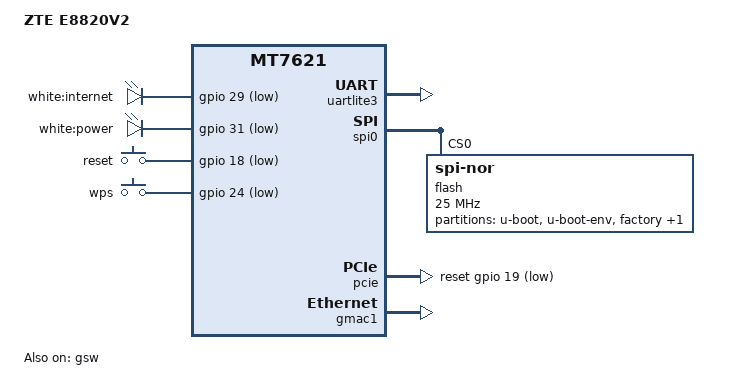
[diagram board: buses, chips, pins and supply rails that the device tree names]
// SPDX-License-Identifier: GPL-2.0-or-later OR MIT

#include "mt7621.dtsi"

#include <dt-bindings/gpio/gpio.h>
#include <dt-bindings/input/input.h>

/ {
	compatible = "zte,e8820v2", "mediatek,mt7621-soc";
	model = "ZTE E8820V2";

	leds {
		compatible = "gpio-leds";

		internet {
			label = "white:internet";
			gpios = <&gpio 29 GPIO_ACTIVE_LOW>;
		};

		usb {
			label = "white:power";
			gpios = <&gpio 31 GPIO_ACTIVE_LOW>;
		};
	};

	keys {
		compatible = "gpio-keys";

		reset {
			label = "reset";
			gpios = <&gpio 18 GPIO_ACTIVE_LOW>;
			linux,code = <KEY_RESTART>;
		};

		wps {
			label = "wps";
			gpios = <&gpio 24 GPIO_ACTIVE_LOW>;
			linux,code = <KEY_WPS_BUTTON>;
		};
	};
};

&uartlite3 {
	status = "okay";
};

&spi0 {
	status = "okay";

	flash@0 {
		compatible = "jedec,spi-nor";
		reg = <0>;
		spi-max-frequency = <25000000>;
		broken-flash-reset;
		m25p,fast-read;

		partitions {
			compatible = "fixed-partitions";
			#address-cells = <1>;
			#size-cells = <1>;

			partition@0 {
				label = "u-boot";
				reg = <0x0 0x30000>;
				read-only;
			};

			partition@30000 {
				label = "u-boot-env";
				reg = <0x30000 0x10000>;
				read-only;
			};

			factory: partition@40000 {
				label = "factory";
				reg = <0x40000 0x10000>;
				read-only;
			};

			partition@50000 {
				compatible = "denx,uimage";
				label = "firmware";
				reg = <0x50000 0x1fb0000>;
			};
		};
	};
};

&pcie {
	status = "okay";
	reset-gpios = <&gpio 19 GPIO_ACTIVE_LOW>,
				  <&gpio 4 GPIO_ACTIVE_LOW>;
};

&pcie0 {
	wifi@0,0 {
		reg = <0x0000 0 0 0 0>;
		mediatek,mtd-eeprom = <&factory 0x0000>;
		mtd-mac-address = <&factory 0xe000>;

	};
};

&pcie1 {
	wifi@0,0 {
		reg = <0x0000 0 0 0 0>;
		mediatek,mtd-eeprom = <&factory 0x8000>;
		mtd-mac-address = <&factory 0xe006>;
		ieee80211-freq-limit = <5000000 6000000>;

		led {
			led-sources = <2>;
			led-active-low;
		};
	};
};

&gmac0 {
	mtd-mac-address = <&factory 0xe000>;
};

&gmac1 {
	mtd-mac-address = <&factory 0xe006>;
        status = "okay";
};

&gsw {
	mediatek,portmap = "llllw";
	status = "okay";
};

&hnat {
	mtketh-wan = "eth1";
	mtketh-ppd = "eth0";
	mtketh-lan = "eth0";
	mtketh-max-gmac = <2>;
	/delete-property/ mtkdsa-wan-port;
};

&switch0 {
	status = "disabled";
};

&state_default {
	gpio {
		groups = "i2c", "uart2", "uart3", "wdt";
		function = "gpio";
	};
};
